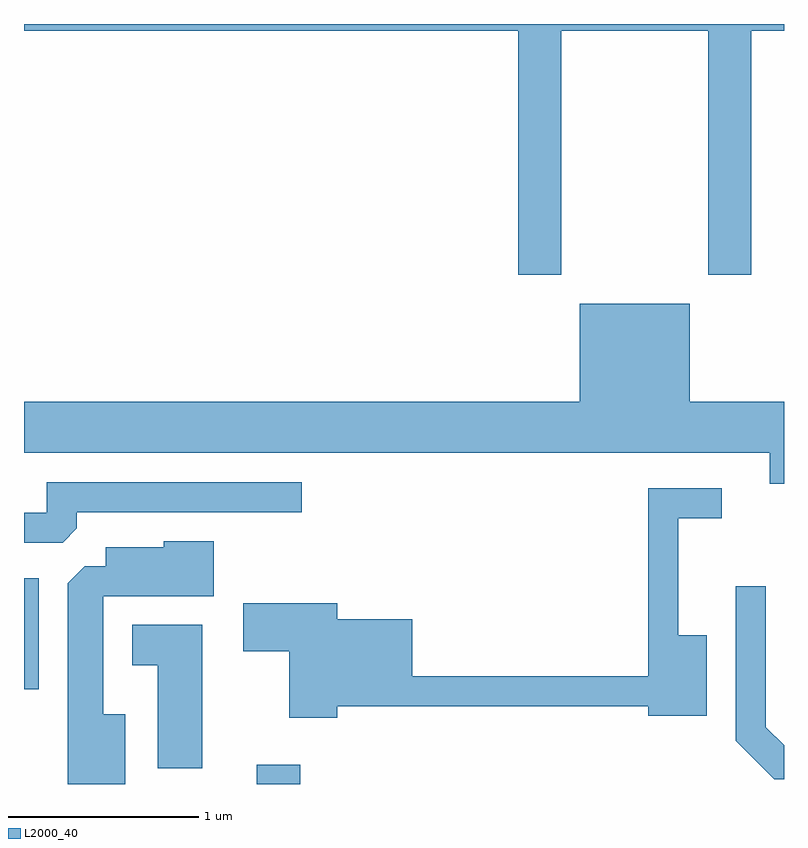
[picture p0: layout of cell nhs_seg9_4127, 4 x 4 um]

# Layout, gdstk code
import gdstk
lib = gdstk.Library(unit=1e-6, precision=1e-09)
def R(c, l, rs):  # rectangles x0, y0, x1, y1
    for r in rs: c.add(gdstk.rectangle(r[:2], r[2:], *l))
def P(c, l, *ps):  # polygons
    for p in ps: c.add(gdstk.Polygon(p, *l))
L2000_40 = (2000, 40)

nhs_seg9_4127 = lib.new_cell('nhs_seg9_4127')
R(nhs_seg9_4127, L2000_40, [(306.836,2074.432,307.064,2074.534), (305.611,2074.931,305.689,2075.514)])
P(nhs_seg9_4127, L2000_40, [(308.439,2078.396),(309.211,2078.396),(309.211,2077.111),(309.439,2077.111),(309.439,2078.396),(309.611,2078.396),(309.611,2078.432),(305.611,2078.432),(305.611,2078.396),(308.211,2078.396),(308.211,2077.111),(308.439,2077.111)],
  [(309.611,2076.444),(309.114,2076.444),(309.114,2076.959),(308.536,2076.959),(308.536,2076.444),(305.611,2076.444),(305.611,2076.176),(309.536,2076.176),(309.536,2076.011),(309.611,2076.011)],
  [(305.889,2075.777),(305.889,2075.861),(307.073,2075.861),(307.073,2076.019),(305.731,2076.019),(305.731,2075.859),(305.611,2075.859),(305.611,2075.701),(305.814,2075.701)],
  [(307.259,2074.841),(308.896,2074.841),(308.896,2074.791),(309.204,2074.791),(309.204,2075.214),(309.054,2075.214),(309.054,2075.831),(309.283,2075.831),(309.283,2075.989),(308.896,2075.989),(308.896,2074.999),(307.654,2074.999),(307.654,2075.299),(307.259,2075.299),(307.259,2075.384),(306.766,2075.384),(306.766,2075.131),(307.006,2075.131),(307.006,2074.781),(307.259,2074.781)],
  [(306.144,2074.799),(306.029,2074.799),(306.029,2075.421),(306.609,2075.421),(306.609,2075.709),(306.346,2075.709),(306.346,2075.679),(306.041,2075.679),(306.041,2075.579),(305.932,2075.579),(305.841,2075.489),(305.841,2074.432),(306.144,2074.432)],
  [(309.611,2074.635),(309.514,2074.731),(309.514,2075.472),(309.356,2075.472),(309.356,2074.659),(309.559,2074.456),(309.611,2074.456)],
  [(306.549,2075.269),(306.181,2075.269),(306.181,2075.056),(306.316,2075.056),(306.316,2074.516),(306.549,2074.516)])

lib.write_gds('nhs_seg9_4127.gds')
